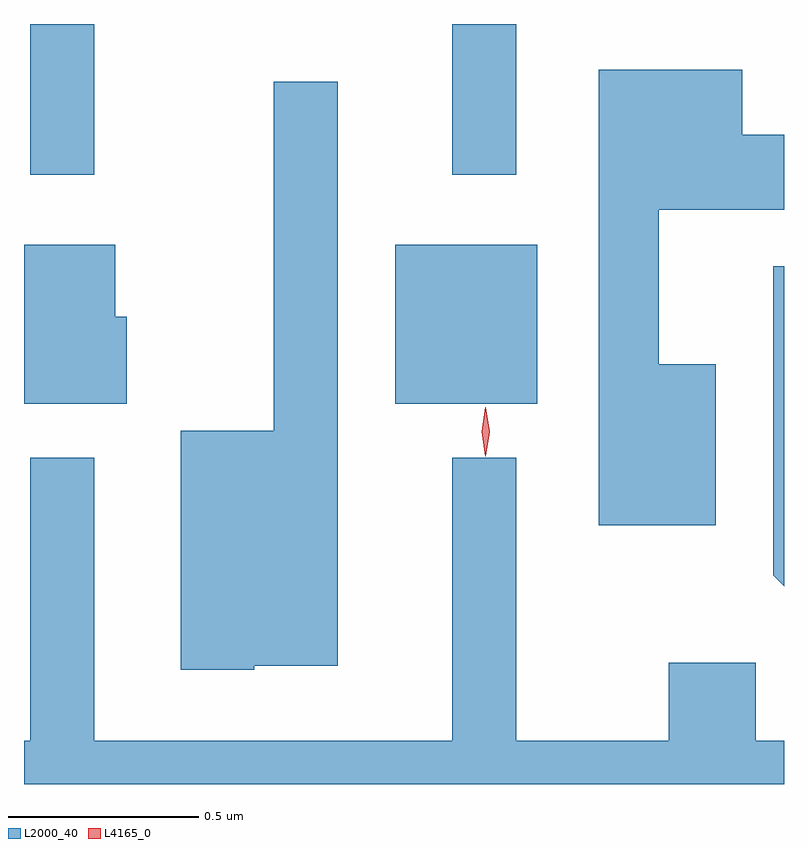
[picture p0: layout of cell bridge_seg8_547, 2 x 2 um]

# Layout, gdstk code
import gdstk
lib = gdstk.Library(unit=1e-6, precision=1e-09)
def R(c, l, rs):  # rectangles x0, y0, x1, y1
    for r in rs: c.add(gdstk.rectangle(r[:2], r[2:], *l))
def P(c, l, *ps):  # polygons
    for p in ps: c.add(gdstk.Polygon(p, *l))
L2000_40 = (2000, 40)
L4165_0 = (4165, 0)

bridge_seg8_547 = lib.new_cell('bridge_seg8_547')
R(bridge_seg8_547, L2000_40, [(226.591,1866.431,226.964,1866.849), (225.631,1867.033,225.799,1867.43), (226.741,1867.033,226.909,1867.43)])
P(bridge_seg8_547, L2000_40, [(227.434,1866.534),(227.284,1866.534),(227.284,1866.941),(227.614,1866.941),(227.614,1867.139),(227.504,1867.139),(227.504,1867.309),(227.126,1867.309),(227.126,1866.111),(227.434,1866.111)],
  [(226.22,1865.741),(226.439,1865.741),(226.439,1867.278),(226.271,1867.278),(226.271,1866.359),(226.026,1866.359),(226.026,1865.731),(226.22,1865.731)],
  [(225.884,1866.659),(225.854,1866.659),(225.854,1866.849),(225.614,1866.849),(225.614,1866.431),(225.884,1866.431)],
  [(227.614,1866.793),(227.586,1866.793),(227.586,1865.979),(227.614,1865.951)],
  [(227.614,1865.544),(227.539,1865.544),(227.539,1865.749),(227.311,1865.749),(227.311,1865.544),(226.909,1865.544),(226.909,1866.288),(226.741,1866.288),(226.741,1865.544),(225.799,1865.544),(225.799,1866.288),(225.631,1866.288),(225.631,1865.544),(225.614,1865.544),(225.614,1865.43),(227.614,1865.43)])
P(bridge_seg8_547, L4165_0, [(226.829,1866.292),(226.828,1866.293),(226.819,1866.357),(226.828,1866.422),(226.829,1866.422),(226.829,1866.422),(226.839,1866.357),(226.829,1866.293)])

lib.write_gds('bridge_seg8_547.gds')
